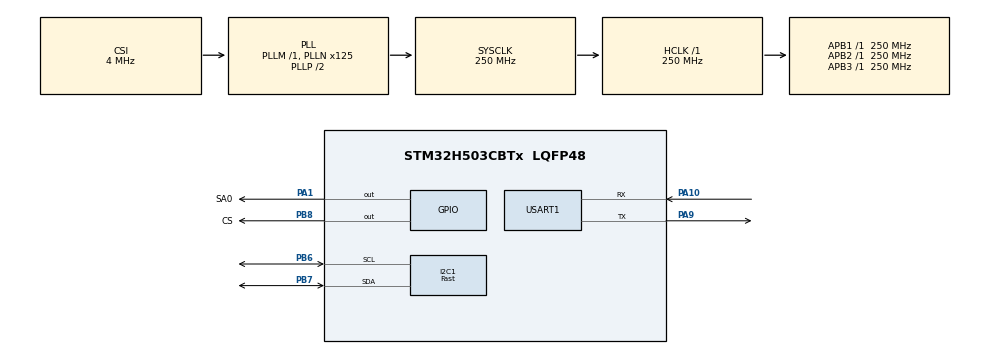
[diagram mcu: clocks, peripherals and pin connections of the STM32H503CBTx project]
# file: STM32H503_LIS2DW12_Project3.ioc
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I2C1.I2C_Speed_Mode=I2C_Fast
I2C1.Timing=0x10C043E5
Mcu.Family=STM32H5
Mcu.Name=STM32H503CBTx
Mcu.Package=LQFP48
NVIC.PriorityGroup=NVIC_PRIORITYGROUP_4
PA1.GPIO_Label=SA0
PA1.Signal=GPIO_Output
PA10.Mode=Asynchronous
PA10.Signal=USART1_RX
PA9.Mode=Asynchronous
PA9.Signal=USART1_TX
PB6.Mode=I2C
PB6.Signal=I2C1_SCL
PB7.Mode=I2C
PB7.Signal=I2C1_SDA
PB8.GPIO_Label=CS
PB8.Signal=GPIO_Output
ProjectManager.HeapSize=0x2000
ProjectManager.StackSize=0x4000
ProjectManager.TargetToolchain=MDK-ARM V5.37
RCC.ADCFreq_Value=250000000
RCC.AHBFreq_Value=250000000
RCC.APB1Freq_Value=250000000
RCC.APB1TimFreq_Value=250000000
RCC.APB2Freq_Value=250000000
RCC.APB2TimFreq_Value=250000000
RCC.APB3Freq_Value=250000000
RCC.CSI_VALUE=4000000
RCC.CortexFreq_Value=250000000
RCC.EPOD_VALUE=4000000
RCC.HCLKFreq_Value=250000000
RCC.HSE_VALUE=25000000
RCC.HSI48_VALUE=48000000
RCC.HSI_VALUE=64000000
RCC.LSE_VALUE=32768
RCC.LSIRC_VALUE=32000
RCC.PLL2FRACN=0
RCC.PLLFRACN=0
RCC.PLLN=125
RCC.SYSCLKFreq_VALUE=250000000
RCC.SYSCLKSource=RCC_SYSCLKSOURCE_PLLCLK
RCC.USBFreq_Value=48000000
RCC.VCOOutputFreq_Value=500000000
USART1.VirtualMode-Asynchronous=VM_ASYNC
VP_BOOTPATH_VS_BOOTPATH.Mode=BP_Activate
VP_CORTEX_M33_NS_VS_Hclk.Mode=Hclk_Mode
VP_ICACHE_VS_ICACHE.Mode=DirectMappedCache
VP_MEMORYMAP_VS_MEMORYMAP.Mode=CurAppReg
VP_PWR_VS_LPOM.Mode=PowerOptimisation
VP_PWR_VS_SECSignals.Mode=Security/Privilege
board=custom

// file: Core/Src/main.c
/* USER CODE BEGIN Header */
/**
  ******************************************************************************
  * @file           : main.c
  * @brief          : Main program body
  ******************************************************************************
  * @attention
  *
  * Copyright (c) 2025 STMicroelectronics.
  * All rights reserved.
  *
  * This software is licensed under terms that can be found in the LICENSE file
  * in the root directory of this software component.
  * If no LICENSE file comes with this software, it is provided AS-IS.
  *
  ******************************************************************************
  */
/* USER CODE END Header */
#include "main.h"
#include "i2c.h"
#include "icache.h"
#include "usart.h"
#include "gpio.h"

/* USER CODE BEGIN Includes */
#include "stdio.h"

#include "lis2dw12_reg.h"
#include <string.h>
/* USER CODE END Includes */

void SystemClock_Config(void);
/* USER CODE BEGIN PFP */
int fputc(int ch, FILE *f){
	HAL_UART_Transmit(&huart1 , (uint8_t *)&ch, 1, 0xFFFF);
	return ch;
}
/* USER CODE END PFP */

/* USER CODE BEGIN 0 */
#define SENSOR_BUS hi2c1

/* Private macro -------------------------------------------------------------*/
#define    BOOT_TIME            20 //ms

/* Private variables ---------------------------------------------------------*/
static uint8_t whoamI, rst;
static uint8_t tx_buffer[1000];

/* Extern variables ----------------------------------------------------------*/

/* Private functions ---------------------------------------------------------*/

/*
 *   WARNING:
 *   Functions declare in this section are defined at the end of this file
 *   and are strictly related to the hardware platform used.
 *
 */
static int32_t platform_write(void *handle, uint8_t reg, const uint8_t *bufp,
                              uint16_t len);
static int32_t platform_read(void *handle, uint8_t reg, uint8_t *bufp,
                             uint16_t len);
static void tx_com( uint8_t *tx_buffer, uint16_t len );
static void platform_delay(uint32_t ms);
static void platform_init(void);

/* USER CODE END 0 */

int main(void)
{

  /* MCU Configuration--------------------------------------------------------*/

  /* Reset of all peripherals, Initializes the Flash interface and the Systick. */
  HAL_Init();

  /* Configure the system clock */
  SystemClock_Config();

  /* Initialize all configured peripherals */
  MX_GPIO_Init();
  MX_I2C1_Init();
  MX_ICACHE_Init();
  MX_USART1_UART_Init();
  /* USER CODE BEGIN 2 */
  /* Initialize mems driver interface */

	HAL_GPIO_WritePin(CS_GPIO_Port, CS_Pin, GPIO_PIN_SET);
  HAL_GPIO_WritePin(SA0_GPIO_Port, SA0_Pin, GPIO_PIN_SET);
	HAL_Delay(100);

  stmdev_ctx_t dev_ctx;
  lis2dw12_reg_t int_route;
  dev_ctx.write_reg = platform_write;
  dev_ctx.read_reg = platform_read;
  dev_ctx.mdelay = platform_delay;
  dev_ctx.handle = &SENSOR_BUS;
  /* Initialize platform specific hardware */
//  platform_init();
  /* Wait sensor boot time */
  platform_delay(BOOT_TIME);
  /* Check device ID */
  lis2dw12_device_id_get(&dev_ctx, &whoamI);
	printf("LIS2DW12_ID=0x%x,whoamI=0x%x",LIS2DW12_ID,whoamI);
  if (whoamI != LIS2DW12_ID)
    while (1) {
      /* manage here device not found */
    }

  /* Restore default configuration */
  lis2dw12_reset_set(&dev_ctx, PROPERTY_ENABLE);

  do {
    lis2dw12_reset_get(&dev_ctx, &rst);
  } while (rst);

  /* Enable Block Data Update */
  lis2dw12_block_data_update_set(&dev_ctx, PROPERTY_ENABLE);

  /* Set full scale */
  lis2dw12_full_scale_set(&dev_ctx, LIS2DW12_2g);
  /* Configure filtering chain
   * Accelerometer - filter path / bandwidth
   */
  lis2dw12_filter_path_set(&dev_ctx, LIS2DW12_LPF_ON_OUT);
  lis2dw12_filter_bandwidth_set(&dev_ctx, LIS2DW12_ODR_DIV_4);
  /* Configure power mode */
  lis2dw12_power_mode_set(&dev_ctx,
                          LIS2DW12_CONT_LOW_PWR_LOW_NOISE_12bit);
  /* Set wake-up duration
   * Wake up duration event 1LSb = 1 / ODR
   */
  lis2dw12_wkup_dur_set(&dev_ctx, 2);
  /* Set sleep duration
   * Duration to go in sleep mode (1 LSb = 512 / ODR)
   */
  lis2dw12_act_sleep_dur_set(&dev_ctx, 2);
  /* Set Activity wake-up threshold
   * Threshold for wake-up 1 LSB = FS_XL / 64
   */
  lis2dw12_wkup_threshold_set(&dev_ctx, 2);
  /* Data sent to wake-up interrupt function */
  lis2dw12_wkup_feed_data_set(&dev_ctx, LIS2DW12_HP_FEED);
  /* Config activity / inactivity or stationary / motion detection */
  lis2dw12_act_mode_set(&dev_ctx, LIS2DW12_DETECT_ACT_INACT);
  /* Enable activity detection interrupt */
  lis2dw12_pin_int1_route_get(&dev_ctx, &int_route.ctrl4_int1_pad_ctrl);
  int_route.ctrl4_int1_pad_ctrl.int1_wu = PROPERTY_ENABLE;
  lis2dw12_pin_int1_route_set(&dev_ctx, &int_route.ctrl4_int1_pad_ctrl);
  /* Set Output Data Rate */
  lis2dw12_data_rate_set(&dev_ctx, LIS2DW12_XL_ODR_200Hz);
  /* USER CODE END 2 */

  /* Infinite loop */
  /* USER CODE BEGIN WHILE */
  while (1)
  {
		lis2dw12_all_sources_t all_source;
    /* Read status register */
    lis2dw12_all_sources_get(&dev_ctx, &all_source);

    /* Check if Activity/Inactivity events */
    if (all_source.wake_up_src.sleep_state_ia) {
      printf("Inactivity Detected\r\n");
    }

    if (all_source.wake_up_src.wu_ia) {
      printf("Activity Detected\r\n");
    }

    /* USER CODE END WHILE */

  }
}

void SystemClock_Config(void)
{
  RCC_OscInitTypeDef RCC_OscInitStruct = {0};
  RCC_ClkInitTypeDef RCC_ClkInitStruct = {0};

  /** Configure the main internal regulator output voltage
  */
  __HAL_PWR_VOLTAGESCALING_CONFIG(PWR_REGULATOR_VOLTAGE_SCALE0);

  while(!__HAL_PWR_GET_FLAG(PWR_FLAG_VOSRDY)) {}

  /** Initializes the RCC Oscillators according to the specified parameters
  * in the RCC_OscInitTypeDef structure.
  */
  RCC_OscInitStruct.OscillatorType = RCC_OSCILLATORTYPE_CSI;
  RCC_OscInitStruct.CSIState = RCC_CSI_ON;
  RCC_OscInitStruct.CSICalibrationValue = RCC_CSICALIBRATION_DEFAULT;
  RCC_OscInitStruct.PLL.PLLState = RCC_PLL_ON;
  RCC_OscInitStruct.PLL.PLLSource = RCC_PLL1_SOURCE_CSI;
  RCC_OscInitStruct.PLL.PLLM = 1;
  RCC_OscInitStruct.PLL.PLLN = 125;
  RCC_OscInitStruct.PLL.PLLP = 2;
  RCC_OscInitStruct.PLL.PLLQ = 2;
  RCC_OscInitStruct.PLL.PLLR = 2;
  RCC_OscInitStruct.PLL.PLLRGE = RCC_PLL1_VCIRANGE_2;
  RCC_OscInitStruct.PLL.PLLVCOSEL = RCC_PLL1_VCORANGE_WIDE;
  RCC_OscInitStruct.PLL.PLLFRACN = 0;
  if (HAL_RCC_OscConfig(&RCC_OscInitStruct) != HAL_OK)
  {
    Error_Handler();
  }

  /** Initializes the CPU, AHB and APB buses clocks
  */
  RCC_ClkInitStruct.ClockType = RCC_CLOCKTYPE_HCLK|RCC_CLOCKTYPE_SYSCLK
                              |RCC_CLOCKTYPE_PCLK1|RCC_CLOCKTYPE_PCLK2
                              |RCC_CLOCKTYPE_PCLK3;
  RCC_ClkInitStruct.SYSCLKSource = RCC_SYSCLKSOURCE_PLLCLK;
  RCC_ClkInitStruct.AHBCLKDivider = RCC_SYSCLK_DIV1;
  RCC_ClkInitStruct.APB1CLKDivider = RCC_HCLK_DIV1;
  RCC_ClkInitStruct.APB2CLKDivider = RCC_HCLK_DIV1;
  RCC_ClkInitStruct.APB3CLKDivider = RCC_HCLK_DIV1;

  if (HAL_RCC_ClockConfig(&RCC_ClkInitStruct, FLASH_LATENCY_5) != HAL_OK)
  {
    Error_Handler();
  }

  /** Configure the programming delay
  */
  __HAL_FLASH_SET_PROGRAM_DELAY(FLASH_PROGRAMMING_DELAY_2);
}

/* USER CODE BEGIN 4 */
/*
 * @brief  Write generic device register (platform dependent)
 *
 * @param  handle    customizable argument. In this examples is used in
 *                   order to select the correct sensor bus handler.
 * @param  reg       register to write
 * @param  bufp      pointer to data to write in register reg
 * @param  len       number of consecutive register to write
 *
 */
static int32_t platform_write(void *handle, uint8_t reg, const uint8_t *bufp,
                              uint16_t len)
{

  HAL_I2C_Mem_Write(handle, LIS2DW12_I2C_ADD_H, reg,
                    I2C_MEMADD_SIZE_8BIT, (uint8_t*) bufp, len, 1000);

  return 0;
}

/*
 * @brief  Read generic device register (platform dependent)
 *
 * @param  handle    customizable argument. In this examples is used in
 *                   order to select the correct sensor bus handler.
 * @param  reg       register to read
 * @param  bufp      pointer to buffer that store the data read
 * @param  len       number of consecutive register to read
 *
 */
static int32_t platform_read(void *handle, uint8_t reg, uint8_t *bufp,
                             uint16_t len)
{
  HAL_I2C_Mem_Read(handle, LIS2DW12_I2C_ADD_H, reg,
                   I2C_MEMADD_SIZE_8BIT, bufp, len, 1000);
  return 0;
}

/*
 * @brief  platform specific delay (platform dependent)
 *
 * @param  ms        delay in ms
 *
 */
static void platform_delay(uint32_t ms)
{
  HAL_Delay(ms);
}
/* USER CODE END 4 */

void Error_Handler(void)
{
  __disable_irq();
  while (1)
  {
  }
}
